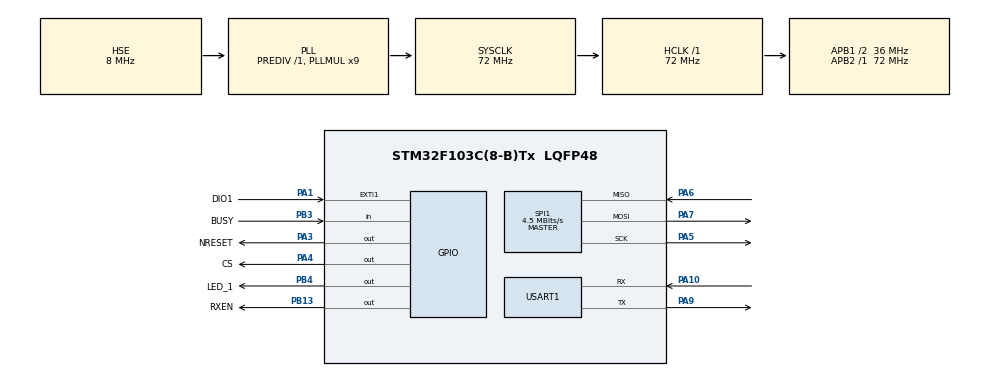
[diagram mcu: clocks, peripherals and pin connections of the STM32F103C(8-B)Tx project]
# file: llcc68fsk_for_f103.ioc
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Dma.Request0=SPI1_TX
Dma.Request1=SPI1_RX
Dma.Request2=USART1_RX
Dma.Request3=USART1_TX
Dma.SPI1_RX.1.Direction=DMA_PERIPH_TO_MEMORY
Dma.SPI1_RX.1.Instance=DMA1_Channel2
Dma.SPI1_RX.1.MemDataAlignment=DMA_MDATAALIGN_BYTE
Dma.SPI1_RX.1.MemInc=DMA_MINC_ENABLE
Dma.SPI1_RX.1.Mode=DMA_NORMAL
Dma.SPI1_RX.1.PeriphDataAlignment=DMA_PDATAALIGN_BYTE
Dma.SPI1_RX.1.PeriphInc=DMA_PINC_DISABLE
Dma.SPI1_RX.1.Priority=DMA_PRIORITY_LOW
Dma.SPI1_TX.0.Direction=DMA_MEMORY_TO_PERIPH
Dma.SPI1_TX.0.Instance=DMA1_Channel3
Dma.SPI1_TX.0.MemDataAlignment=DMA_MDATAALIGN_BYTE
Dma.SPI1_TX.0.MemInc=DMA_MINC_ENABLE
Dma.SPI1_TX.0.Mode=DMA_NORMAL
Dma.SPI1_TX.0.PeriphDataAlignment=DMA_PDATAALIGN_BYTE
Dma.SPI1_TX.0.PeriphInc=DMA_PINC_DISABLE
Dma.SPI1_TX.0.Priority=DMA_PRIORITY_LOW
Dma.USART1_RX.2.Direction=DMA_PERIPH_TO_MEMORY
Dma.USART1_RX.2.Instance=DMA1_Channel5
Dma.USART1_RX.2.MemDataAlignment=DMA_MDATAALIGN_BYTE
Dma.USART1_RX.2.MemInc=DMA_MINC_ENABLE
Dma.USART1_RX.2.Mode=DMA_CIRCULAR
Dma.USART1_RX.2.PeriphDataAlignment=DMA_PDATAALIGN_BYTE
Dma.USART1_RX.2.PeriphInc=DMA_PINC_DISABLE
Dma.USART1_RX.2.Priority=DMA_PRIORITY_LOW
Dma.USART1_TX.3.Direction=DMA_MEMORY_TO_PERIPH
Dma.USART1_TX.3.Instance=DMA1_Channel4
Dma.USART1_TX.3.MemDataAlignment=DMA_MDATAALIGN_BYTE
Dma.USART1_TX.3.MemInc=DMA_MINC_ENABLE
Dma.USART1_TX.3.Mode=DMA_NORMAL
Dma.USART1_TX.3.PeriphDataAlignment=DMA_PDATAALIGN_BYTE
Dma.USART1_TX.3.PeriphInc=DMA_PINC_DISABLE
Dma.USART1_TX.3.Priority=DMA_PRIORITY_LOW
Mcu.Family=STM32F1
Mcu.Name=STM32F103C(8-B)Tx
Mcu.Package=LQFP48
NVIC.DMA1_Channel2_IRQn=true\:1\:0\:true\:false\:true\:false\:true\:true
NVIC.DMA1_Channel3_IRQn=true\:1\:0\:true\:false\:true\:false\:true\:true
NVIC.DMA1_Channel4_IRQn=true\:1\:0\:true\:false\:true\:false\:true\:true
NVIC.DMA1_Channel5_IRQn=true\:1\:0\:true\:false\:true\:false\:true\:true
NVIC.EXTI1_IRQn=true\:0\:0\:true\:false\:true\:true\:true\:true
NVIC.PriorityGroup=NVIC_PRIORITYGROUP_4
NVIC.SPI1_IRQn=true\:1\:0\:true\:false\:true\:true\:true\:true
NVIC.USART1_IRQn=true\:1\:0\:true\:false\:true\:false\:true\:true
PA1.GPIO_Label=DIO1
PA1.GPIO_PuPd=GPIO_PULLDOWN
PA1.Signal=GPXTI1
PA10.Mode=Asynchronous
PA10.Signal=USART1_RX
PA13.Mode=Serial_Wire
PA13.Signal=SYS_JTMS-SWDIO
PA14.Mode=Serial_Wire
PA14.Signal=SYS_JTCK-SWCLK
PA3.GPIO_Label=NRESET
PA3.GPIO_PuPd=GPIO_PULLUP
PA3.PinState=GPIO_PIN_SET
PA3.Signal=GPIO_Output
PA4.GPIO_Label=CS
PA4.GPIO_PuPd=GPIO_PULLUP
PA4.PinState=GPIO_PIN_SET
PA4.Signal=GPIO_Output
PA5.Mode=Full_Duplex_Master
PA5.Signal=SPI1_SCK
PA6.Mode=Full_Duplex_Master
PA6.Signal=SPI1_MISO
PA7.Mode=Full_Duplex_Master
PA7.Signal=SPI1_MOSI
PA9.Mode=Asynchronous
PA9.Signal=USART1_TX
PB13.GPIO_Label=RXEN
PB13.GPIO_PuPd=GPIO_NOPULL
PB13.PinState=GPIO_PIN_RESET
PB13.Signal=GPIO_Output
PB3.GPIO_Label=BUSY
PB3.GPIO_PuPd=GPIO_NOPULL
PB3.Signal=GPIO_Input
PB4.GPIO_Label=LED_1
PB4.GPIO_ModeDefaultOutputPP=GPIO_MODE_OUTPUT_OD
PB4.GPIO_PuPd=GPIO_NOPULL
PB4.PinState=GPIO_PIN_RESET
PB4.Signal=GPIO_Output
PD0-OSC_IN.Mode=HSE-External-Oscillator
PD0-OSC_IN.Signal=RCC_OSC_IN
PD1-OSC_OUT.Mode=HSE-External-Oscillator
PD1-OSC_OUT.Signal=RCC_OSC_OUT
ProjectManager.HeapSize=0x200
ProjectManager.StackSize=0x400
ProjectManager.TargetToolchain=CMake
RCC.AHBFreq_Value=72000000
RCC.APB1CLKDivider=RCC_HCLK_DIV2
RCC.APB1Freq_Value=36000000
RCC.APB1TimFreq_Value=72000000
RCC.APB2Freq_Value=72000000
RCC.APB2TimFreq_Value=72000000
RCC.HCLKFreq_Value=72000000
RCC.PLLMUL=RCC_PLL_MUL9
RCC.PLLSourceVirtual=RCC_PLLSOURCE_HSE
RCC.SYSCLKFreq_VALUE=72000000
RCC.SYSCLKSource=RCC_SYSCLKSOURCE_PLLCLK
RCC.USBFreq_Value=72000000
SPI1.BaudRatePrescaler=SPI_BAUDRATEPRESCALER_16
SPI1.CLKPolarity=SPI_POLARITY_LOW
SPI1.CalculateBaudRate=4.5 MBits/s
SPI1.Direction=SPI_DIRECTION_2LINES
SPI1.Mode=SPI_MODE_MASTER
SPI1.VirtualType=VM_MASTER
USART1.VirtualMode=VM_ASYNC
board=custom

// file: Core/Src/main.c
/* USER CODE BEGIN Header */
/**
  ******************************************************************************
  * @file           : main.c
  * @brief          : Main program body
  ******************************************************************************
  * @attention
  *
  * Copyright (c) 2026 STMicroelectronics.
  * All rights reserved.
  *
  * This software is licensed under terms that can be found in the LICENSE file
  * in the root directory of this software component.
  * If no LICENSE file comes with this software, it is provided AS-IS.
  *
  ******************************************************************************
  */
/* USER CODE END Header */
#include "main.h"
#include "dma.h"
#include "spi.h"
#include "usart.h"
#include "gpio.h"

/* USER CODE BEGIN Includes */
#include "radio.h"
#include "serial.h"
#include <stdio.h>
/* USER CODE END Includes */

void SystemClock_Config(void);
/* USER CODE BEGIN PFP */
int _write(int file, char *ptr, int len)
{
  int DataIdx;

  for (DataIdx = 0; DataIdx < len; DataIdx++)
  {
    HAL_UART_Transmit(&huart1, (uint8_t *)&ptr[DataIdx], 1, 100);
  }
  return len;
}
/* USER CODE END PFP */

int main(void)
{

  /* USER CODE BEGIN 1 */
  #ifndef APP_VECTOR_BASE
  #error "A/B 应用必须定义 APP_VECTOR_BASE"
  #endif
  SCB->VTOR = APP_VECTOR_BASE;
  __DSB();
  __ISB();

  /* USER CODE END 1 */

  /* MCU Configuration--------------------------------------------------------*/

  /* Reset of all peripherals, Initializes the Flash interface and the Systick. */
  HAL_Init();

  /* Configure the system clock */
  SystemClock_Config();

  /* Initialize all configured peripherals */
  MX_GPIO_Init();
  MX_DMA_Init();
  MX_SPI1_Init();
  MX_USART1_UART_Init();
  /* USER CODE BEGIN 2 */
  printf("APP start...\n");

  radio_init();
  radio_set_mode(0); // 设置为接收模式
  serial_receive_byte_on();
  /* USER CODE END 2 */

  /* Infinite loop */
  /* USER CODE BEGIN WHILE */
  while (1)
  {
    radio_loop();
    /* USER CODE END WHILE */

  }
}

void SystemClock_Config(void)
{
  RCC_OscInitTypeDef RCC_OscInitStruct = {0};
  RCC_ClkInitTypeDef RCC_ClkInitStruct = {0};

  /** Initializes the RCC Oscillators according to the specified parameters
  * in the RCC_OscInitTypeDef structure.
  */
  RCC_OscInitStruct.OscillatorType = RCC_OSCILLATORTYPE_HSE;
  RCC_OscInitStruct.HSEState = RCC_HSE_ON;
  RCC_OscInitStruct.HSEPredivValue = RCC_HSE_PREDIV_DIV1;
  RCC_OscInitStruct.HSIState = RCC_HSI_ON;
  RCC_OscInitStruct.PLL.PLLState = RCC_PLL_ON;
  RCC_OscInitStruct.PLL.PLLSource = RCC_PLLSOURCE_HSE;
  RCC_OscInitStruct.PLL.PLLMUL = RCC_PLL_MUL9;
  if (HAL_RCC_OscConfig(&RCC_OscInitStruct) != HAL_OK)
  {
    Error_Handler();
  }

  /** Initializes the CPU, AHB and APB buses clocks
  */
  RCC_ClkInitStruct.ClockType = RCC_CLOCKTYPE_HCLK|RCC_CLOCKTYPE_SYSCLK
                              |RCC_CLOCKTYPE_PCLK1|RCC_CLOCKTYPE_PCLK2;
  RCC_ClkInitStruct.SYSCLKSource = RCC_SYSCLKSOURCE_PLLCLK;
  RCC_ClkInitStruct.AHBCLKDivider = RCC_SYSCLK_DIV1;
  RCC_ClkInitStruct.APB1CLKDivider = RCC_HCLK_DIV2;
  RCC_ClkInitStruct.APB2CLKDivider = RCC_HCLK_DIV1;

  if (HAL_RCC_ClockConfig(&RCC_ClkInitStruct, FLASH_LATENCY_2) != HAL_OK)
  {
    Error_Handler();
  }
}

void Error_Handler(void)
{
  __disable_irq();
  while (1)
  {
  }
}
